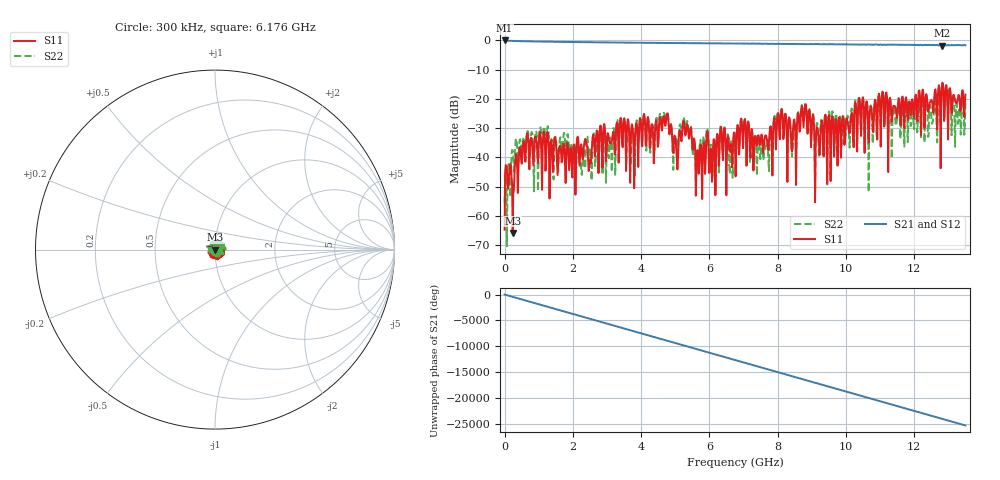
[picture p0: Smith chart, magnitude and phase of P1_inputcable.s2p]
!Agilent Technologies,N5230A,MY45000845,A.06.01.05
!Agilent N5230A: A.06.01.05
!Date: Friday, July 13, 2012 16:28:12
!Correction: S11(Full 2 Port(1,2)) S21(Full 2 Port(1,2)) S12(Full 2 Port(1,2)) S22(Full 2 Port(1,2))
!S2P File: Measurements: S11, S21, S12, S22:
# Hz S  dB  R 50
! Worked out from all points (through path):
!   801 points, 300 kHz to 13.5 GHz, reference 50 ohm
!   highest |S21| = -0.03 dB at 300 kHz (marker M1); lowest = -1.8 dB at 12.83 GHz (marker M2)
!   lowest |S11| = -65.9 dB at 236.5 MHz (marker M3), VSWR 1.00, Z = 50 - j0.0214 ohm
!   |S11| at or under -10 dB: start of sweep to end of sweep
!   |S22| runs from -70.3 to -15.8 dB; largest |S21 - S12| = 0.0099
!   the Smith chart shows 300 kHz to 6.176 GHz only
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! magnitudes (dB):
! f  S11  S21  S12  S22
! 300 kHz  -64.7  0.0  0.0  -55.6
! 84.67 MHz  -47.9  -0.1  -0.1  -48.1
! 236.5 MHz  -65.9  -0.2  -0.2  -37.5
! 624.7 MHz  -36.5  -0.3  -0.3  -39.6
! 1.789 GHz  -48.8  -0.5  -0.5  -38.4
! 2.261 GHz  -37.3  -0.6  -0.6  -46.0
! 4.506 GHz  -35.3  -0.9  -0.9  -33.4
! 4.725 GHz  -28.3  -0.9  -0.9  -27.4
! 4.995 GHz  -33.1  -0.9  -0.9  -33.7
! 5.299 GHz  -32.5  -0.9  -0.9  -31.5
! 5.653 GHz  -37.5  -1.0  -1.0  -38.9
! 6.75 GHz  -34.7  -1.1  -1.1  -34.1
! 6.986 GHz  -36.8  -1.1  -1.1  -33.3
! 7.442 GHz  -32.5  -1.1  -1.1  -33.5
! 8.066 GHz  -33.8  -1.2  -1.2  -30.3
! 8.471 GHz  -27.5  -1.2  -1.2  -29.1
! 8.758 GHz  -29.7  -1.3  -1.3  -27.7
! 9.011 GHz  -27.2  -1.3  -1.3  -26.7
! 9.163 GHz  -29.7  -1.3  -1.3  -28.3
! 11.26 GHz  -24.7  -1.5  -1.5  -23.6
! 12.83 GHz  -14.5  -1.8  -1.7  -15.8
! 13.5 GHz  -18.5  -1.7  -1.7  -21.4
